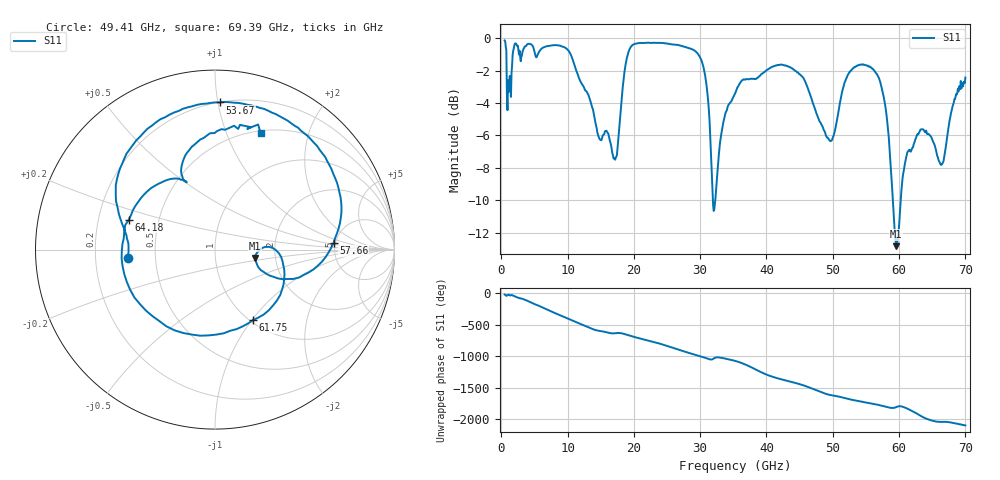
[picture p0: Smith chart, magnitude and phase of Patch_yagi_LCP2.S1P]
!  1-Port S-parameters saved by WinCal
! VAR MeasName=S-Parameters (CALIBRATED_DATA) read from VNA (N5227B)
! VAR MeasDate=10/18/2022 10:12:39 AM
! VAR NAME=Patch_yagi_LCP2
! VAR FILENAME=Patch_yagi_LCP2.S1P
! VAR DATE=10/18/2022 10:12:39 AM
! VAR PHYS_PORTS=1
! VAR ObjTypeName=DATASET
! VAR IndexType=Frequency
# Hz S DB R 50
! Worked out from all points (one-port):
!   801 points, 500 MHz to 70 GHz, reference 50 ohm
!   lowest |S11| = -12.8 dB at 59.58 GHz (marker M1), VSWR 1.59, Z = 78.3 - j7.68 ohm
!   |S11| at or under -10 dB: 31.92 GHz to 32.27 GHz (355.1 MHz wide, 1.11 % of centre); 59.06 GHz to 60.24 GHz (1.181 GHz wide, 1.98 % of centre)
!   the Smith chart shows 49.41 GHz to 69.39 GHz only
!   S11 on the Smith chart (normalised r, x): 49.41 GHz: 0.35, -0.04; 53.67 GHz: 0.20, +1.01; 57.66 GHz: 4.82, +0.64; 61.75 GHz: 1.03, -1.01; 64.18 GHz: 0.33, +0.15; 69.39 GHz: 0.52, +1.33
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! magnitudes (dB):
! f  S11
! 500 MHz  -0.1
! 1.195 GHz  -2.7
! 2.151 GHz  -0.3
! 9.188 GHz  -0.5
! 14.83 GHz  -6.2
! 17.09 GHz  -7.5
! 17.88 GHz  -5.1
! 18.74 GHz  -1.6
! 19.61 GHz  -0.5
! 26.56 GHz  -0.4
! 30.47 GHz  -1.7
! 31.17 GHz  -3.7
! 32.12 GHz  -10.6
! 33.51 GHz  -5.1
! 35.25 GHz  -3.4
! 43.94 GHz  -1.9
! 49.41 GHz  -6.3
! 52.62 GHz  -2.1
! 53.67 GHz  -1.7
! 56.19 GHz  -2.0
! 57.66 GHz  -3.6
! 59.58 GHz  -12.8
! 61.31 GHz  -7.0
! 61.75 GHz  -7.0
! 64.18 GHz  -5.9
! 66.44 GHz  -7.8
! 69.39 GHz  -3.1
! 70 GHz  -2.4
